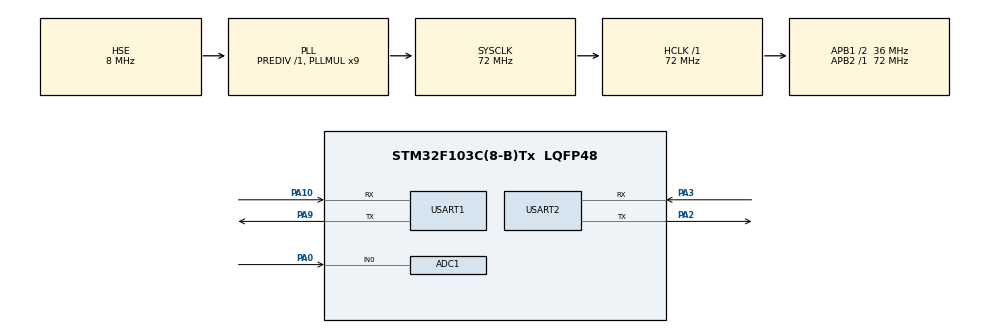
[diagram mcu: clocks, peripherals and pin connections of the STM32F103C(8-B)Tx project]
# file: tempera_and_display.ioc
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ADC1.Channel-0\#ChannelRegularConversion=ADC_CHANNEL_0
ADC1.NbrOfConversionFlag=1
ADC1.Rank-0\#ChannelRegularConversion=1
ADC1.SamplingTime-0\#ChannelRegularConversion=ADC_SAMPLETIME_1CYCLE_5
ADC1.master=1
Mcu.Family=STM32F1
Mcu.Name=STM32F103C(8-B)Tx
Mcu.Package=LQFP48
NVIC.PriorityGroup=NVIC_PRIORITYGROUP_4
PA0-WKUP.Signal=ADCx_IN0
PA10.Mode=Asynchronous
PA10.Signal=USART1_RX
PA2.Mode=Asynchronous
PA2.Signal=USART2_TX
PA3.Mode=Asynchronous
PA3.Signal=USART2_RX
PA9.Mode=Asynchronous
PA9.Signal=USART1_TX
PD0-OSC_IN.Mode=HSE-External-Oscillator
PD0-OSC_IN.Signal=RCC_OSC_IN
PD1-OSC_OUT.Mode=HSE-External-Oscillator
PD1-OSC_OUT.Signal=RCC_OSC_OUT
ProjectManager.HeapSize=0x200
ProjectManager.StackSize=0x400
ProjectManager.TargetToolchain=MDK-ARM V5.27
RCC.ADCPresc=RCC_ADCPCLK2_DIV6
RCC.AHBFreq_Value=72000000
RCC.APB1CLKDivider=RCC_HCLK_DIV2
RCC.APB1Freq_Value=36000000
RCC.APB1TimFreq_Value=72000000
RCC.APB2Freq_Value=72000000
RCC.APB2TimFreq_Value=72000000
RCC.HCLKFreq_Value=72000000
RCC.PLLMUL=RCC_PLL_MUL9
RCC.PLLSourceVirtual=RCC_PLLSOURCE_HSE
RCC.SYSCLKFreq_VALUE=72000000
RCC.SYSCLKSource=RCC_SYSCLKSOURCE_PLLCLK
RCC.USBFreq_Value=72000000
SH.ADCx_IN0.0=ADC1_IN0,IN0
USART1.VirtualMode=VM_ASYNC
USART2.VirtualMode=VM_ASYNC
VP_SYS_VS_ND.Mode=No_Debug
board=custom

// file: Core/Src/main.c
/* USER CODE BEGIN Header */
/**
  ******************************************************************************
  * @file           : main.c
  * @brief          : Main program body
  ******************************************************************************
  * @attention
  *
  * <h2><center>&copy; Copyright (c) 2021 STMicroelectronics.
  * All rights reserved.</center></h2>
  *
  * This software component is licensed by ST under BSD 3-Clause license,
  * the "License"; You may not use this file except in compliance with the
  * License. You may obtain a copy of the License at:
  *                        opensource.org/licenses/BSD-3-Clause
  *
  ******************************************************************************
  */
/* USER CODE END Header */
#include "main.h"
#include "adc.h"
#include "usart.h"
#include "gpio.h"

/* USER CODE BEGIN PV */
uint8_t UART1_RxBuffer;
uint8_t buffer1[4] = "\0";
uint8_t Target_Flag = 0;
uint8_t status; //0:没带口罩  1:带了口罩   2:没人
uint8_t data;
/* USER CODE END PV */

void SystemClock_Config(void);

/* USER CODE BEGIN 0 */
/**
  * @brief  串口调试
  * @retval None
  */
#include "stdio.h"
#define DEBUG
#ifdef DEBUG
#define DBG(format, ...) fprintf(stdout, "[\tDBG](File:%s, Func:%s(), Line:%d): " \
                                , __FILE__, __FUNCTION__, __LINE__);             \
                         fprintf(stdout, format"\r\n", ##__VA_ARGS__)
#else
#define DBG(format, ...)  do {} while (0)
#endif

int fputc(int ch, FILE *f){
    uint8_t temp[1] = {ch};
    HAL_UART_Transmit(&huart2, temp, 1, 2);//huart1 根据配置修改
    return ch;
}

/* USER CODE END 0 */

int main(void)
{

  /* MCU Configuration--------------------------------------------------------*/

  /* Reset of all peripherals, Initializes the Flash interface and the Systick. */
  HAL_Init();

  /* Configure the system clock */
  SystemClock_Config();

  /* Initialize all configured peripherals */
  MX_GPIO_Init();
  MX_ADC1_Init();
  MX_USART1_UART_Init();
  MX_USART2_UART_Init();
  /* USER CODE BEGIN 2 */
  HAL_UART_Receive_IT(&huart1, (uint8_t*)&UART1_RxBuffer, 1); //开启串口中断

  uint8_t i = 0;
   //uint8_t pRData;
   uint8_t pTData[6]={0xff, 0x00, 0x00, 0x00, 0xfe};

   uint16_t  max = 0, min = 0xffff;
   float sum = 0.0;
   float temp =0.0;
   float AD_Value = 0.0;

   float T = 0.0;

	 float a=-1.809628;                     //三阶传递函数所用参数
	 float b=-3.325395;
	 float c=-1.814103;
	 float d=2.055894;

   //uint8_t tx_temp_H;
   //uint8_t tx_temp_L;
   uint8_t Tempera;
   uint8_t j;
   //DBG("helloworld!");
  /* USER CODE END 2 */

  /* Infinite loop */
  /* USER CODE BEGIN WHILE */
  while (1)
  {
    /*串口屏驱动*/
    /* USER CODE END WHILE */

  }
}

void SystemClock_Config(void)
{
  RCC_OscInitTypeDef RCC_OscInitStruct = {0};
  RCC_ClkInitTypeDef RCC_ClkInitStruct = {0};
  RCC_PeriphCLKInitTypeDef PeriphClkInit = {0};

  /** Initializes the RCC Oscillators according to the specified parameters
  * in the RCC_OscInitTypeDef structure.
  */
  RCC_OscInitStruct.OscillatorType = RCC_OSCILLATORTYPE_HSE;
  RCC_OscInitStruct.HSEState = RCC_HSE_ON;
  RCC_OscInitStruct.HSEPredivValue = RCC_HSE_PREDIV_DIV1;
  RCC_OscInitStruct.HSIState = RCC_HSI_ON;
  RCC_OscInitStruct.PLL.PLLState = RCC_PLL_ON;
  RCC_OscInitStruct.PLL.PLLSource = RCC_PLLSOURCE_HSE;
  RCC_OscInitStruct.PLL.PLLMUL = RCC_PLL_MUL9;
  if (HAL_RCC_OscConfig(&RCC_OscInitStruct) != HAL_OK)
  {
    Error_Handler();
  }
  /** Initializes the CPU, AHB and APB buses clocks
  */
  RCC_ClkInitStruct.ClockType = RCC_CLOCKTYPE_HCLK|RCC_CLOCKTYPE_SYSCLK
                              |RCC_CLOCKTYPE_PCLK1|RCC_CLOCKTYPE_PCLK2;
  RCC_ClkInitStruct.SYSCLKSource = RCC_SYSCLKSOURCE_PLLCLK;
  RCC_ClkInitStruct.AHBCLKDivider = RCC_SYSCLK_DIV1;
  RCC_ClkInitStruct.APB1CLKDivider = RCC_HCLK_DIV2;
  RCC_ClkInitStruct.APB2CLKDivider = RCC_HCLK_DIV1;

  if (HAL_RCC_ClockConfig(&RCC_ClkInitStruct, FLASH_LATENCY_2) != HAL_OK)
  {
    Error_Handler();
  }
  PeriphClkInit.PeriphClockSelection = RCC_PERIPHCLK_ADC;
  PeriphClkInit.AdcClockSelection = RCC_ADCPCLK2_DIV6;
  if (HAL_RCCEx_PeriphCLKConfig(&PeriphClkInit) != HAL_OK)
  {
    Error_Handler();
  }
}

/* USER CODE BEGIN 4 */
void HAL_UART_RxCpltCallback(UART_HandleTypeDef *huart)
{
  static uint8_t count = 0;
  static uint32_t sum = 0;
  if(huart -> Instance == USART1) //如果是串口1
  {
    if(UART1_RxBuffer == 0xff)
        status = 2;
    else
    {
      status = UART1_RxBuffer >> 7;
      data = UART1_RxBuffer & 0x7f;
    }
    HAL_UART_Receive_IT(&huart1, (uint8_t*)&UART1_RxBuffer, 1); //重新开启中断
  }
}
/* USER CODE END 4 */

void Error_Handler(void)
{
}

/************************ (C) COPYRIGHT STMicroelectronics *****END OF FILE****/
